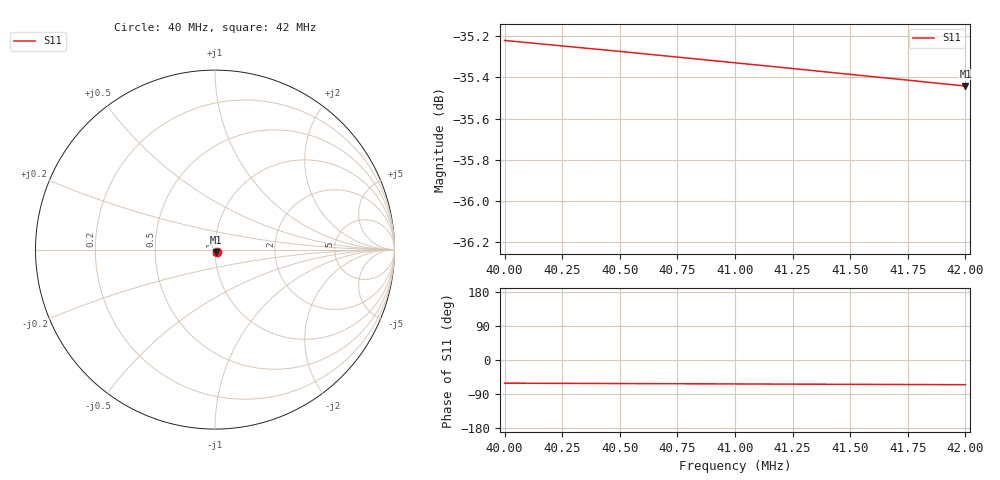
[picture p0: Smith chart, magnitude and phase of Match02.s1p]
# Hz S RI R 50
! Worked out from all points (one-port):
!   9 points, 40 MHz to 42 MHz, reference 50 ohm
!   lowest |S11| = -35.4 dB at 42 MHz (marker M1), VSWR 1.03, Z = 50.7 - j1.56 ohm
!   |S11| at or under -10 dB: start of sweep to end of sweep
4e7  0.00837 -0.0152
4.025e7  0.00821 -0.0152
4.05e7  0.00805 -0.0152
4.075e7  0.00789 -0.0153
4.1e7  0.00773 -0.0153
4.125e7  0.00757 -0.0153
4.15e7  0.00741 -0.0153
4.175e7  0.00725 -0.0153
4.2e7  0.00709 -0.0153
